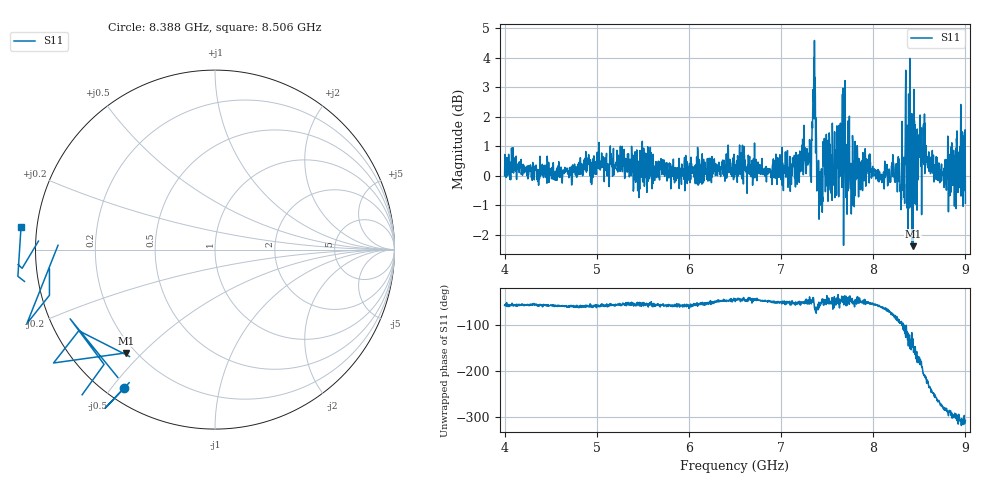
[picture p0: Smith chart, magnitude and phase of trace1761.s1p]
! Created with skrf 1.8.0 (http://scikit-rf.org).
# Hz S RI R 50.0
!freq ReS11 ImS11
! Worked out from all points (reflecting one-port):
!   1601 points, 4 GHz to 9 GHz, reference 50 ohm
!   lowest |S11| = -2.4 dB at 8.431 GHz (marker M1), VSWR 7.35, Z = 8.2 - j22.4 ohm
!   phase of S11 starts at -58 deg and turns -250 deg over the sweep
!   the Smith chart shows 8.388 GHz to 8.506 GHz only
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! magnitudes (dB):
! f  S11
! 4 GHz  0.0
! 4.1 GHz  0.4
! 4.625 GHz  -0.2
! 5.25 GHz  0.2
! 5.875 GHz  0.1
! 6.5 GHz  0.4
! 7.125 GHz  0.6
! 7.309 GHz  1.2
! 7.356 GHz  4.0
! 7.372 GHz  2.6
! 7.4 GHz  0.0
! 7.428 GHz  -0.2
! 7.481 GHz  -0.5
! 7.578 GHz  0.4
! 7.669 GHz  0.5
! 7.75 GHz  0.0
! 7.928 GHz  0.4
! 8.316 GHz  -0.5
! 8.334 GHz  -0.7
! 8.375 GHz  -1.8
! 8.4 GHz  -0.5
! 8.431 GHz  -2.4
! 8.459 GHz  -1.0
! 8.553 GHz  0.8
! 8.606 GHz  0.2
! 8.747 GHz  0.1
! 8.972 GHz  0.2
! 9 GHz  -0.9
